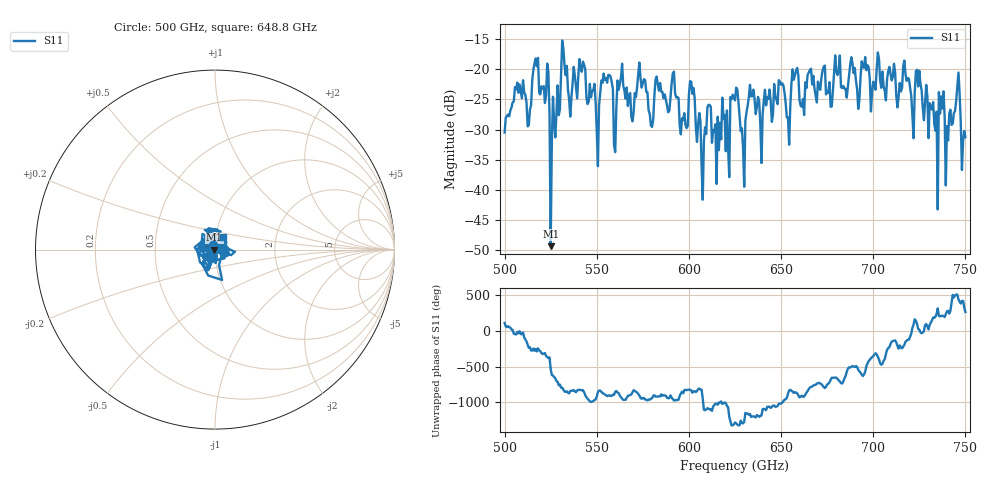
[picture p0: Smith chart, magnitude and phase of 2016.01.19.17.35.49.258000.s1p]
!Created with skrf (http://scikit-rf.org).
# GHz S RI R 50.0
!freq ReS11 ImS11
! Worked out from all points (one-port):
!   401 points, 500 GHz to 750 GHz, reference 50 ohm
!   lowest |S11| = -49.4 dB at 525 GHz (marker M1), VSWR 1.01, Z = 49.7 - j0.0394 ohm
!   |S11| at or under -10 dB: start of sweep to end of sweep
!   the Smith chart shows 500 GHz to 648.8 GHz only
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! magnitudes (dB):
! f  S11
! 500 GHz  -30.5
! 506.9 GHz  -22.2
! 513.1 GHz  -29.3
! 516.9 GHz  -18.2
! 525 GHz  -49.4
! 531.2 GHz  -15.2
! 535.6 GHz  -27.8
! 541.9 GHz  -20.4
! 550.6 GHz  -36.1
! 553.8 GHz  -20.7
! 562.5 GHz  -22.4
! 593.8 GHz  -24.6
! 601.9 GHz  -24.1
! 608.1 GHz  -31.9
! 610.6 GHz  -25.9
! 620.6 GHz  -26.8
! 625 GHz  -25.1
! 629.4 GHz  -33.1
! 633.8 GHz  -24.5
! 639.4 GHz  -35.6
! 650 GHz  -22.5
! 653.8 GHz  -28.0
! 656.2 GHz  -20.0
! 687.5 GHz  -19.2
! 718.8 GHz  -21.4
! 733.8 GHz  -30.2
! 745.6 GHz  -22.8
! 750 GHz  -31.2
